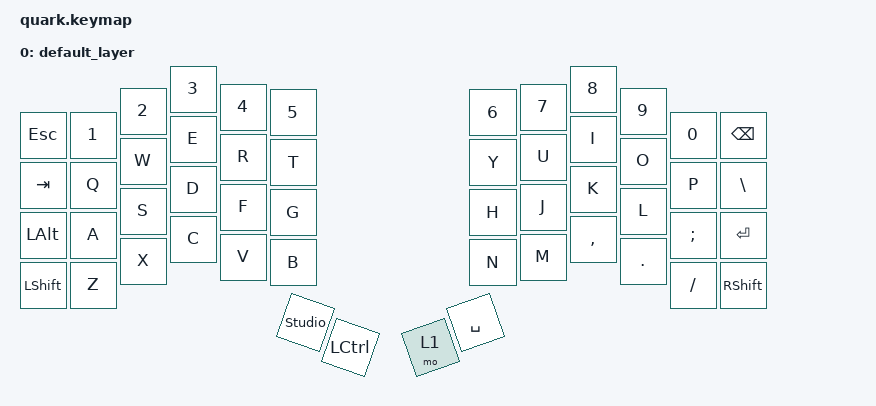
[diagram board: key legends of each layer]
#include <behaviors.dtsi>
#include <dt-bindings/zmk/keys.h>
#include <dt-bindings/zmk/bt.h>
#include <dt-bindings/zmk/outputs.h>


/ {
        keymap {
                compatible = "zmk,keymap";

                default_layer {
                        bindings = <
   &kp ESC    &kp N1    &kp N2    &kp N3     &kp N4     &kp N5               &kp N6     &kp N7  &kp N8     &kp N9    &kp N0    &kp BSPC
   &kp TAB    &kp Q     &kp W     &kp E      &kp R      &kp T                &kp Y      &kp U   &kp I      &kp O     &kp P     &kp BSLH
   &kp LALT   &kp A     &kp S     &kp D      &kp F      &kp G                &kp H      &kp J   &kp K      &kp L     &kp SEMI  &kp RET
   &kp LSHFT  &kp Z     &kp X     &kp C      &kp V      &kp B                &kp N      &kp M   &kp COMMA  &kp DOT   &kp FSLH  &kp RSHFT
                                             &studio_unlock  &kp LCTRL            &mo 1      &kp SPACE
                        >;
                };
                extra1 {
                status = "reserved";
                };

                extra2 {
                status = "reserved";
                };

                extra3 {
                status = "reserved";
                };
       };
};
